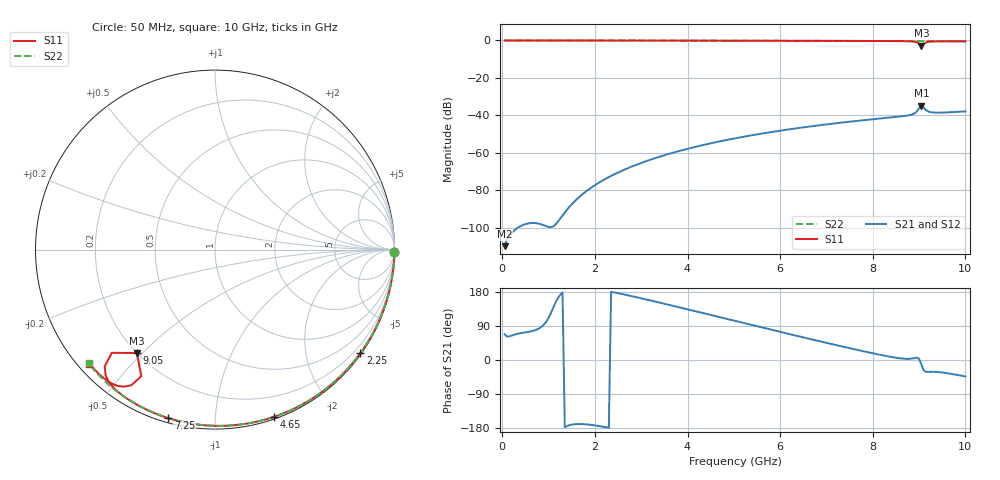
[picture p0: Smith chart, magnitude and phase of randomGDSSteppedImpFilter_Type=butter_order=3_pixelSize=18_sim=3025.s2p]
! freq	dB(S11)	phase(S11)	dB(S12)	phase(S12)
!  dB(S21)	phase(S21)	dB(S22)	phase(S22)
!S-par simulation data
#  GHz  S  DB  R 50
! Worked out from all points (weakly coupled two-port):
!   200 points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, 50 MHz to 10 GHz, reference 50 ohm
!   highest |S21| = -34.84 dB at 9.05 GHz (marker M1); lowest = -109.9 dB at 50 MHz (marker M2)
!   lowest |S11| = -2.8 dB at 9.05 GHz (marker M3), VSWR 6.19, Z = 10 - j24.1 ohm
!   |S11| at or under -10 dB: nowhere
!   |S22| runs from -0.5 to 0.0 dB; largest |S21 - S12| = 0
!   S11 on the Smith chart (normalised r, x): 50 MHz: open; 2.25 GHz: 0.03, -3.13; 4.65 GHz: 0.02, -1.41; 7.25 GHz: 0.02, -0.76; 9.05 GHz: 0.20, -0.48; 10 GHz: 0.03, -0.39
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0.05  -0.00 -0.8  -109.93 68.0  -109.93 68.0  -0.00 -0.8
0.9  -0.02 -14.4  -98.82 93.5  -98.82 93.5  -0.02 -14.3
1.75  -0.04 -27.7  -81.79 -169.3  -81.79 -169.3  -0.04 -27.5
1.85  -0.04 -29.3  -79.89 -170.3  -79.89 -170.3  -0.04 -29.1
2.25  -0.05 -35.4  -73.68 -177.7  -73.68 -177.7  -0.05 -35.2
2.75  -0.06 -43.0  -67.85 169.7  -67.85 169.7  -0.06 -42.7
3.4  -0.07 -52.7  -62.08 151.4  -62.08 151.4  -0.07 -52.4
4  -0.09 -61.5  -57.89 133.7  -57.89 133.7  -0.08 -61.0
4.65  -0.10 -70.7  -54.17 114.3  -54.17 114.3  -0.10 -70.2
5.05  -0.12 -76.3  -52.19 102.4  -52.19 102.4  -0.12 -75.7
6.7  -0.19 -98.3  -45.78 53.8  -45.78 53.8  -0.19 -97.5
7.25  -0.22 -105.5  -44.11 38.1  -44.11 38.1  -0.22 -104.5
8.35  -0.31 -120.0  -41.26 9.1  -41.26 9.1  -0.30 -118.1
8.8  -0.45 -127.8  -39.90 3.2  -39.90 3.2  -0.34 -123.6
8.95  -0.96 -133.3  -37.97 6.2  -37.97 6.2  -0.36 -125.4
9  -1.80 -135.0  -36.21 3.1  -36.21 3.1  -0.36 -126.0
9.05  -2.83 -127.1  -34.84 -12.4  -34.84 -12.4  -0.37 -126.6
9.1  -1.77 -120.2  -35.88 -27.2  -35.88 -27.2  -0.37 -127.2
9.15  -1.02 -121.7  -37.20 -31.1  -37.20 -31.1  -0.38 -127.8
9.2  -0.74 -123.8  -37.94 -31.3  -37.94 -31.3  -0.38 -128.4
9.45  -0.48 -129.8  -38.59 -32.2  -38.59 -32.2  -0.41 -131.4
10  -0.49 -137.8  -37.91 -43.4  -37.91 -43.4  -0.47 -138.0
